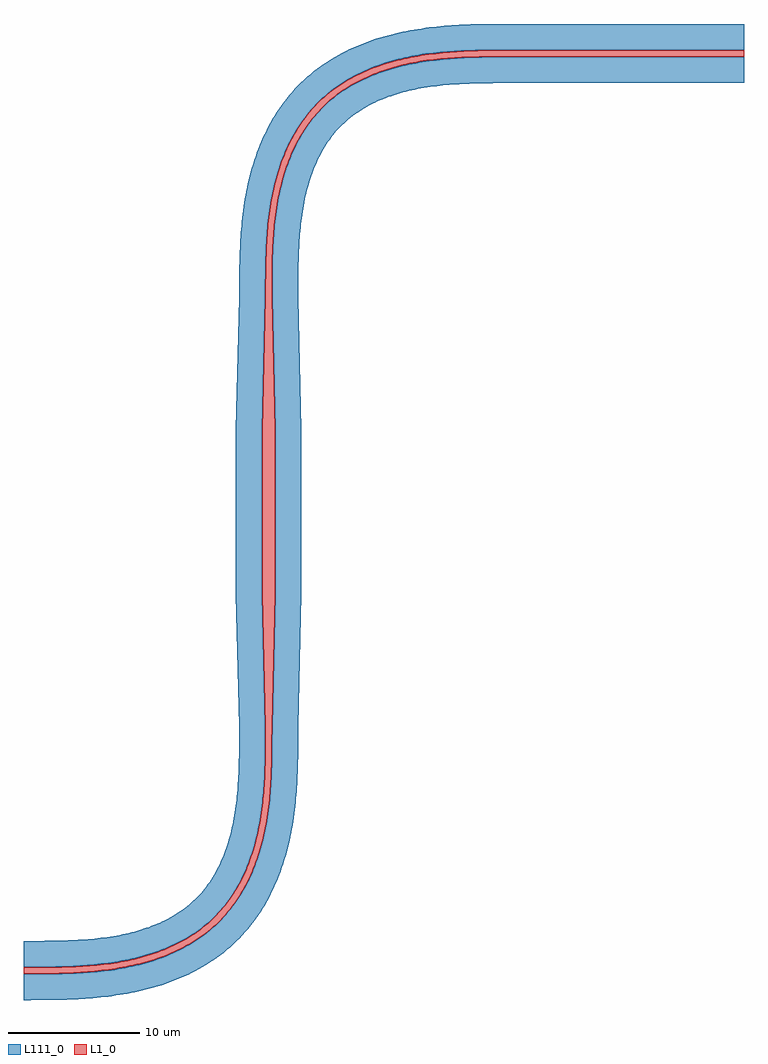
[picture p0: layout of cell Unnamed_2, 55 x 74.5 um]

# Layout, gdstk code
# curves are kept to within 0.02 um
from math import pi, radians
import gdstk
lib = gdstk.Library(unit=1e-6, precision=1e-09)
def R(c, l, rs):  # rectangles x0, y0, x1, y1
    for r in rs: c.add(gdstk.rectangle(r[:2], r[2:], *l))
def P(c, l, *ps):  # polygons
    for p in ps: c.add(gdstk.Polygon(p, *l))
L1_0 = (1, 0)
L111_0 = (111, 0)

bend_euler_w0p5_r10_lwg_ = lib.new_cell('bend_euler_W0p5_R10_LWG_EWGSTD_A90_R150')
P(bend_euler_w0p5_r10_lwg_, L1_0, [(0,-0.25),(0,0.25),(3.214,0.285),(5.343,0.413),(6.4,0.531),(7.449,0.696),(8.229,0.854),(9.255,1.116),(10.011,1.355),(10.752,1.632),(11.476,1.951),(12.178,2.312),(12.855,2.718),(13.501,3.168),(14.496,4.019),(15.037,4.589),(15.372,4.992),(15.838,5.627),(16.258,6.294),(16.634,6.988),(16.967,7.705),(17.258,8.441),(17.51,9.193),(17.724,9.957),(17.956,10.991),(18.133,12.038),(18.262,13.093),(18.351,14.155),(18.416,15.487),(18.451,18.701),(18.951,18.701),(18.924,15.741),(18.786,13.312),(18.544,11.43),(18.393,10.629),(18.139,9.57),(17.906,8.786),(17.532,7.761),(17.201,7.01),(16.826,6.28),(16.095,5.121),(15.591,4.469),(15.04,3.856),(14.441,3.288),(13.801,2.769),(13.126,2.298),(12.421,1.875),(11.691,1.5),(10.94,1.169),(9.915,0.795),(9.131,0.562),(8.072,0.308),(7.271,0.157),(5.389,-0.085),(2.96,-0.223)])
P(bend_euler_w0p5_r10_lwg_, L111_0, [(0,0.25),(0,2.25),(2.891,2.276),(4.663,2.364),(6.377,2.547),(8.021,2.859),(8.922,3.103),(9.575,3.322),(10.816,3.854),(11.398,4.169),(12.126,4.64),(12.632,5.031),(13.101,5.452),(13.533,5.908),(13.934,6.402),(14.303,6.932),(14.745,7.688),(15.299,8.912),(15.528,9.559),(15.786,10.452),(16.118,12.084),(16.318,13.789),(16.431,16.068),(16.451,18.701),(18.451,18.701),(18.416,15.487),(18.288,13.358),(18.051,11.513),(17.847,10.472),(17.656,9.701),(17.346,8.69),(17.069,7.949),(16.75,7.225),(16.389,6.523),(15.983,5.846),(15.533,5.2),(15.037,4.589),(14.496,4.019),(13.912,3.494),(13.289,3.013),(12.632,2.578),(11.947,2.187),(11.237,1.84),(10.507,1.535),(9.508,1.191),(8.744,0.977),(7.71,0.745),(6.926,0.607),(5.078,0.39),(2.946,0.277)],
  [(0,-2.25),(0,-0.25),(2.96,-0.223),(5.389,-0.085),(7.271,0.157),(8.072,0.308),(9.131,0.562),(9.915,0.795),(10.94,1.169),(11.691,1.5),(12.421,1.875),(13.58,2.606),(14.232,3.11),(14.845,3.661),(15.413,4.26),(15.932,4.9),(16.403,5.575),(16.826,6.28),(17.201,7.01),(17.532,7.761),(17.906,8.786),(18.139,9.57),(18.393,10.629),(18.544,11.43),(18.786,13.312),(18.924,15.741),(18.951,18.701),(20.951,18.701),(20.923,15.685),(20.863,14.274),(20.777,13.129),(20.516,11.097),(20.287,9.925),(20.069,9.045),(19.808,8.168),(19.385,7.008),(19.007,6.15),(18.574,5.309),(18.083,4.489),(17.531,3.698),(16.917,2.941),(16.473,2.461),(15.76,1.784),(15.26,1.368),(14.479,0.795),(13.668,0.284),(12.833,-0.168),(11.98,-0.564),(11.115,-0.906),(9.948,-1.286),(9.069,-1.518),(7.897,-1.764),(6.73,-1.947),(5.572,-2.076),(4.427,-2.162),(3.016,-2.222)])

taper_w500_w1000_l10000_ = lib.new_cell('taper_W500_W1000_L10000_LWG_EWGSTD')
P(taper_w500_w1000_l10000_, L1_0, [(10,-0.5),(0,-0.25),(0,0.25),(10,0.5)])
P(taper_w500_w1000_l10000_, L111_0, [(10,-2.5),(0,-2.25),(0,-0.25),(10,-0.5)],
  [(0,0.25),(0,2.25),(10,2.5),(10,0.5)])

straight_w1000_l12598_lw = lib.new_cell('straight_W1000_L12598_LWG_EWGSTD')
R(straight_w1000_l12598_lw, L1_0, [(0,-0.5,12.598,0.5)])
R(straight_w1000_l12598_lw, L111_0, [(0,-2.5,12.598,-0.5), (0,0.5,12.598,2.5)])

straight_w500_l17598_lwg = lib.new_cell('straight_W500_L17598_LWG_EWGSTD')
R(straight_w500_l17598_lwg, L1_0, [(0,-0.25,17.598,0.25)])
R(straight_w500_l17598_lwg, L111_0, [(0,-2.25,17.598,-0.25), (0,0.25,17.598,2.25)])

unnamed_2 = lib.new_cell('Unnamed_2')
unnamed_2.add(gdstk.Reference(bend_euler_w0p5_r10_lwg_, (18.701,18.701), rotation=3*pi/2, x_reflection=True))
unnamed_2.add(gdstk.Reference(bend_euler_w0p5_r10_lwg_, (37.402,70), rotation=pi))
unnamed_2.add(gdstk.Reference(taper_w500_w1000_l10000_, (18.701,18.701), rotation=pi/2, x_reflection=True))
unnamed_2.add(gdstk.Reference(taper_w500_w1000_l10000_, (18.701,51.299), rotation=3*pi/2))
unnamed_2.add(gdstk.Reference(straight_w1000_l12598_lw, (18.701,28.701), rotation=pi/2, x_reflection=True))
unnamed_2.add(gdstk.Reference(straight_w500_l17598_lwg, (37.402,70)))

lib.write_gds('Unnamed_2.gds')
